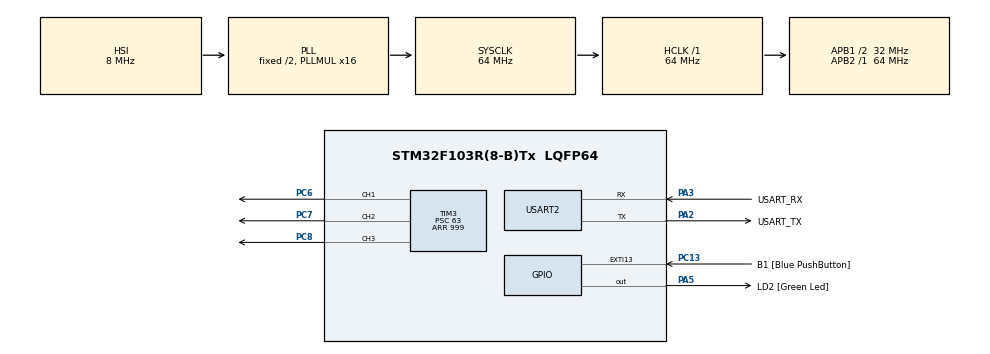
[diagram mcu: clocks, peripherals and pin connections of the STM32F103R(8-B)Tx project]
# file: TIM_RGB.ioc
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Mcu.Family=STM32F1
Mcu.Name=STM32F103R(8-B)Tx
Mcu.Package=LQFP64
NVIC.EXTI15_10_IRQn=true\:0\:0\:false\:false\:true\:true\:true\:true
NVIC.PriorityGroup=NVIC_PRIORITYGROUP_4
PA13.GPIO_Label=TMS
PA13.Mode=Serial_Wire
PA13.Signal=SYS_JTMS-SWDIO
PA14.GPIO_Label=TCK
PA14.Mode=Serial_Wire
PA14.Signal=SYS_JTCK-SWCLK
PA2.GPIO_Label=USART_TX
PA2.GPIO_Mode=GPIO_MODE_AF_PP
PA2.GPIO_PuPd=GPIO_NOPULL
PA2.GPIO_Speed=GPIO_SPEED_FREQ_LOW
PA2.Mode=Asynchronous
PA2.Signal=USART2_TX
PA3.GPIO_Label=USART_RX
PA3.GPIO_Mode=GPIO_MODE_AF_PP
PA3.GPIO_PuPd=GPIO_NOPULL
PA3.GPIO_Speed=GPIO_SPEED_FREQ_LOW
PA3.Mode=Asynchronous
PA3.Signal=USART2_RX
PA5.GPIO_Label=LD2 [Green Led]
PA5.GPIO_ModeDefaultOutputPP=GPIO_MODE_OUTPUT_PP
PA5.GPIO_PuPd=GPIO_NOPULL
PA5.GPIO_Speed=GPIO_SPEED_FREQ_LOW
PA5.Signal=GPIO_Output
PB3.GPIO_Label=SWO
PB3.Signal=SYS_JTDO-TRACESWO
PC13-TAMPER-RTC.GPIO_Label=B1 [Blue PushButton]
PC13-TAMPER-RTC.GPIO_PuPd=GPIO_NOPULL
PC13-TAMPER-RTC.Signal=GPXTI13
PC14-OSC32_IN.Mode=LSE-External-Oscillator
PC14-OSC32_IN.Signal=RCC_OSC32_IN
PC15-OSC32_OUT.Mode=LSE-External-Oscillator
PC15-OSC32_OUT.Signal=RCC_OSC32_OUT
PC6.Signal=S_TIM3_CH1
PC7.Signal=S_TIM3_CH2
PC8.Signal=S_TIM3_CH3
PD0-OSC_IN.Mode=HSE-External-Clock-Source
PD0-OSC_IN.Signal=RCC_OSC_IN
PD1-OSC_OUT.Mode=HSE-External-Clock-Source
PD1-OSC_OUT.Signal=RCC_OSC_OUT
ProjectManager.HeapSize=0x200
ProjectManager.StackSize=0x400
ProjectManager.TargetToolchain=STM32CubeIDE
RCC.AHBFreq_Value=64000000
RCC.APB1CLKDivider=RCC_HCLK_DIV2
RCC.APB1Freq_Value=32000000
RCC.APB1TimFreq_Value=64000000
RCC.APB2Freq_Value=64000000
RCC.APB2TimFreq_Value=64000000
RCC.HCLKFreq_Value=64000000
RCC.PLLMUL=RCC_PLL_MUL16
RCC.RTCClockSelection=RCC_RTCCLKSOURCE_LSE
RCC.SYSCLKFreq_VALUE=64000000
RCC.SYSCLKSource=RCC_SYSCLKSOURCE_PLLCLK
RCC.USBFreq_Value=64000000
SH.S_TIM3_CH1.0=TIM3_CH1,PWM Generation1 CH1
SH.S_TIM3_CH2.0=TIM3_CH2,PWM Generation2 CH2
SH.S_TIM3_CH3.0=TIM3_CH3,PWM Generation3 CH3
TIM3.Channel-PWM\ Generation1\ CH1=TIM_CHANNEL_1
TIM3.Channel-PWM\ Generation2\ CH2=TIM_CHANNEL_2
TIM3.Channel-PWM\ Generation3\ CH3=TIM_CHANNEL_3
TIM3.Period=999
TIM3.Prescaler=63
TIM3.Pulse-PWM\ Generation1\ CH1=999
TIM3.Pulse-PWM\ Generation2\ CH2=999
TIM3.Pulse-PWM\ Generation3\ CH3=999
USART2.VirtualMode=VM_ASYNC
VP_TIM3_VS_ClockSourceINT.Mode=Internal
board=NUCLEO-F103RB

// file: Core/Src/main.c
/* USER CODE BEGIN Header */
/**
  ******************************************************************************
  * @file           : main.c
  * @brief          : Main program body
  ******************************************************************************
  * @attention
  *
  * Copyright (c) 2024 STMicroelectronics.
  * All rights reserved.
  *
  * This software is licensed under terms that can be found in the LICENSE file
  * in the root directory of this software component.
  * If no LICENSE file comes with this software, it is provided AS-IS.
  *
  ******************************************************************************
  */
/* USER CODE END Header */
#include "main.h"

/* USER CODE BEGIN PD */

#define	LED_RED		0
#define	LED_GREEN	1
#define	LED_BLUE	2

/* USER CODE END PD */

TIM_HandleTypeDef htim3;

UART_HandleTypeDef huart2;

/* USER CODE BEGIN PV */

volatile uint16_t gTim3Pulse[3] = { 0, 0, 0 };
char gBlueButtonPush = 0;
char gLEDIndex = 0;

/* USER CODE END PV */

void SystemClock_Config(void);
static void MX_GPIO_Init(void);
static void MX_USART2_UART_Init(void);
static void MX_TIM3_Init(void);

int main(void)
{

  /* MCU Configuration--------------------------------------------------------*/

  /* Reset of all peripherals, Initializes the Flash interface and the Systick. */
  HAL_Init();

  /* Configure the system clock */
  SystemClock_Config();

  /* Initialize all configured peripherals */
  MX_GPIO_Init();
  MX_USART2_UART_Init();
  MX_TIM3_Init();
  /* USER CODE BEGIN 2 */

  HAL_TIM_PWM_Start(&htim3, TIM_CHANNEL_1);
  HAL_TIM_PWM_Start(&htim3, TIM_CHANNEL_2);
  HAL_TIM_PWM_Start(&htim3, TIM_CHANNEL_3);

  /* USER CODE END 2 */

  /* Infinite loop */
  /* USER CODE BEGIN WHILE */
  while (1)
  {
	  if(gBlueButtonPush) {
		  HAL_Delay(20);
		  if(HAL_GPIO_ReadPin(B1_GPIO_Port, B1_Pin)) {
			  switch(++gLEDIndex) {
			  case 1:
				  gTim3Pulse[LED_RED] = 0;
				  gTim3Pulse[LED_GREEN] = 999;
				  gTim3Pulse[LED_BLUE] = 999;
				  break;
			  case 2:
				  gTim3Pulse[LED_RED] = 999;
				  gTim3Pulse[LED_GREEN] = 0;
				  gTim3Pulse[LED_BLUE] = 999;
				  break;
			  case 3:
				  gTim3Pulse[LED_RED] = 999;
				  gTim3Pulse[LED_GREEN] = 999;
				  gTim3Pulse[LED_BLUE] = 0;
				  break;
			  case 4:
				  gTim3Pulse[LED_RED] = 499;
				  gTim3Pulse[LED_GREEN] = 499;
				  gTim3Pulse[LED_BLUE] = 999;
				  break;
			  case 5:
				  gTim3Pulse[LED_RED] = 499;
				  gTim3Pulse[LED_GREEN] = 499;
				  gTim3Pulse[LED_BLUE] = 499;
				  break;
			  case 6:
				  gTim3Pulse[LED_RED] = 0;
				  gTim3Pulse[LED_GREEN] = 0;
				  gTim3Pulse[LED_BLUE] = 0;
				  break;
			  default:
				  gLEDIndex = 0;
				  gTim3Pulse[LED_RED] = 999;
				  gTim3Pulse[LED_GREEN] = 999;
				  gTim3Pulse[LED_BLUE] = 999;
				  break;
			  }
			  __HAL_TIM_SET_COMPARE(&htim3, TIM_CHANNEL_1, gTim3Pulse[LED_RED]);
			  __HAL_TIM_SET_COMPARE(&htim3, TIM_CHANNEL_2, gTim3Pulse[LED_GREEN]);
			  __HAL_TIM_SET_COMPARE(&htim3, TIM_CHANNEL_3, gTim3Pulse[LED_BLUE]);

			  while(HAL_GPIO_ReadPin(B1_GPIO_Port, B1_Pin)) {
				  HAL_Delay(20);
			  }

			  while(HAL_GPIO_ReadPin(B1_GPIO_Port, B1_Pin)) {
				  HAL_Delay(20);
			  }
		  }

		  gBlueButtonPush = 0;
	  }
    /* USER CODE END WHILE */

  }
}

void SystemClock_Config(void)
{
  RCC_OscInitTypeDef RCC_OscInitStruct = {0};
  RCC_ClkInitTypeDef RCC_ClkInitStruct = {0};

  /** Initializes the RCC Oscillators according to the specified parameters
  * in the RCC_OscInitTypeDef structure.
  */
  RCC_OscInitStruct.OscillatorType = RCC_OSCILLATORTYPE_HSI;
  RCC_OscInitStruct.HSIState = RCC_HSI_ON;
  RCC_OscInitStruct.HSICalibrationValue = RCC_HSICALIBRATION_DEFAULT;
  RCC_OscInitStruct.PLL.PLLState = RCC_PLL_ON;
  RCC_OscInitStruct.PLL.PLLSource = RCC_PLLSOURCE_HSI_DIV2;
  RCC_OscInitStruct.PLL.PLLMUL = RCC_PLL_MUL16;
  if (HAL_RCC_OscConfig(&RCC_OscInitStruct) != HAL_OK)
  {
    Error_Handler();
  }

  /** Initializes the CPU, AHB and APB buses clocks
  */
  RCC_ClkInitStruct.ClockType = RCC_CLOCKTYPE_HCLK|RCC_CLOCKTYPE_SYSCLK
                              |RCC_CLOCKTYPE_PCLK1|RCC_CLOCKTYPE_PCLK2;
  RCC_ClkInitStruct.SYSCLKSource = RCC_SYSCLKSOURCE_PLLCLK;
  RCC_ClkInitStruct.AHBCLKDivider = RCC_SYSCLK_DIV1;
  RCC_ClkInitStruct.APB1CLKDivider = RCC_HCLK_DIV2;
  RCC_ClkInitStruct.APB2CLKDivider = RCC_HCLK_DIV1;

  if (HAL_RCC_ClockConfig(&RCC_ClkInitStruct, FLASH_LATENCY_2) != HAL_OK)
  {
    Error_Handler();
  }
}

static void MX_TIM3_Init(void)
{

  TIM_ClockConfigTypeDef sClockSourceConfig = {0};
  TIM_MasterConfigTypeDef sMasterConfig = {0};
  TIM_OC_InitTypeDef sConfigOC = {0};

  htim3.Instance = TIM3;
  htim3.Init.Prescaler = 63;
  htim3.Init.CounterMode = TIM_COUNTERMODE_UP;
  htim3.Init.Period = 999;
  htim3.Init.ClockDivision = TIM_CLOCKDIVISION_DIV1;
  htim3.Init.AutoReloadPreload = TIM_AUTORELOAD_PRELOAD_DISABLE;
  if (HAL_TIM_Base_Init(&htim3) != HAL_OK)
  {
    Error_Handler();
  }
  sClockSourceConfig.ClockSource = TIM_CLOCKSOURCE_INTERNAL;
  if (HAL_TIM_ConfigClockSource(&htim3, &sClockSourceConfig) != HAL_OK)
  {
    Error_Handler();
  }
  if (HAL_TIM_PWM_Init(&htim3) != HAL_OK)
  {
    Error_Handler();
  }
  sMasterConfig.MasterOutputTrigger = TIM_TRGO_RESET;
  sMasterConfig.MasterSlaveMode = TIM_MASTERSLAVEMODE_DISABLE;
  if (HAL_TIMEx_MasterConfigSynchronization(&htim3, &sMasterConfig) != HAL_OK)
  {
    Error_Handler();
  }
  sConfigOC.OCMode = TIM_OCMODE_PWM1;
  sConfigOC.Pulse = 999;
  sConfigOC.OCPolarity = TIM_OCPOLARITY_HIGH;
  sConfigOC.OCFastMode = TIM_OCFAST_DISABLE;
  if (HAL_TIM_PWM_ConfigChannel(&htim3, &sConfigOC, TIM_CHANNEL_1) != HAL_OK)
  {
    Error_Handler();
  }
  if (HAL_TIM_PWM_ConfigChannel(&htim3, &sConfigOC, TIM_CHANNEL_2) != HAL_OK)
  {
    Error_Handler();
  }
  if (HAL_TIM_PWM_ConfigChannel(&htim3, &sConfigOC, TIM_CHANNEL_3) != HAL_OK)
  {
    Error_Handler();
  }
  HAL_TIM_MspPostInit(&htim3);

}

static void MX_USART2_UART_Init(void)
{

  huart2.Instance = USART2;
  huart2.Init.BaudRate = 115200;
  huart2.Init.WordLength = UART_WORDLENGTH_8B;
  huart2.Init.StopBits = UART_STOPBITS_1;
  huart2.Init.Parity = UART_PARITY_NONE;
  huart2.Init.Mode = UART_MODE_TX_RX;
  huart2.Init.HwFlowCtl = UART_HWCONTROL_NONE;
  huart2.Init.OverSampling = UART_OVERSAMPLING_16;
  if (HAL_UART_Init(&huart2) != HAL_OK)
  {
    Error_Handler();
  }

}

static void MX_GPIO_Init(void)
{
  GPIO_InitTypeDef GPIO_InitStruct = {0};

  /* GPIO Ports Clock Enable */
  __HAL_RCC_GPIOC_CLK_ENABLE();
  __HAL_RCC_GPIOD_CLK_ENABLE();
  __HAL_RCC_GPIOA_CLK_ENABLE();
  __HAL_RCC_GPIOB_CLK_ENABLE();

  /*Configure GPIO pin Output Level */
  HAL_GPIO_WritePin(LD2_GPIO_Port, LD2_Pin, GPIO_PIN_RESET);

  /*Configure GPIO pin : B1_Pin */
  GPIO_InitStruct.Pin = B1_Pin;
  GPIO_InitStruct.Mode = GPIO_MODE_IT_RISING;
  GPIO_InitStruct.Pull = GPIO_NOPULL;
  HAL_GPIO_Init(B1_GPIO_Port, &GPIO_InitStruct);

  /*Configure GPIO pin : LD2_Pin */
  GPIO_InitStruct.Pin = LD2_Pin;
  GPIO_InitStruct.Mode = GPIO_MODE_OUTPUT_PP;
  GPIO_InitStruct.Pull = GPIO_NOPULL;
  GPIO_InitStruct.Speed = GPIO_SPEED_FREQ_LOW;
  HAL_GPIO_Init(LD2_GPIO_Port, &GPIO_InitStruct);

  /* EXTI interrupt init*/
  HAL_NVIC_SetPriority(EXTI15_10_IRQn, 0, 0);
  HAL_NVIC_EnableIRQ(EXTI15_10_IRQn);

}

/* USER CODE BEGIN 4 */
void HAL_GPIO_EXTI_Callback(uint16_t GPIO_Pin)
{
	switch(GPIO_Pin) {
	case B1_Pin:
		gBlueButtonPush = 1;
		break;
	}
}

/* USER CODE END 4 */

void Error_Handler(void)
{
  __disable_irq();
  while (1)
  {
  }
}
